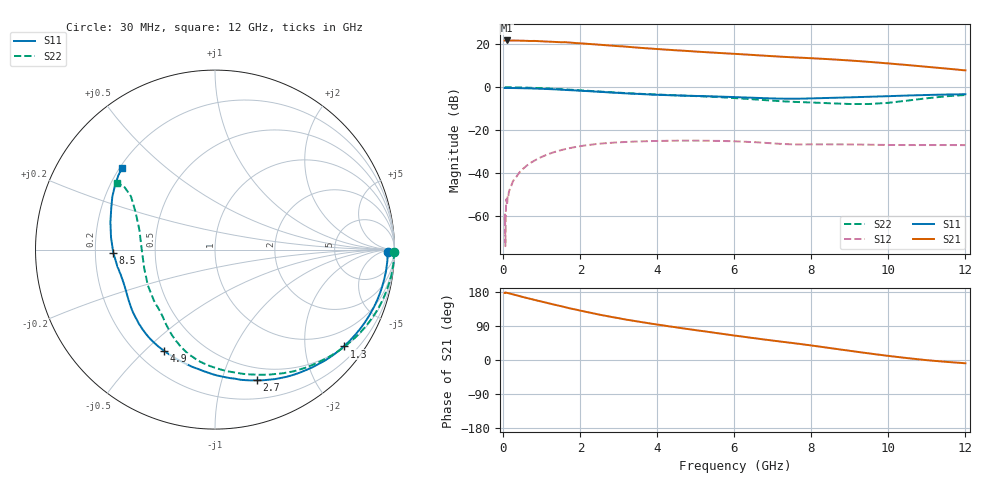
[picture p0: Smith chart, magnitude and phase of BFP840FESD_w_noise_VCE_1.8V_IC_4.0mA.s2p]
! Infineon Technologies  Discrete & RF Semiconductors
! BFP840FESD
! VCE =  1.8 V,  IC =  4.0 mA
! Common Emitter S-Parameters:  May 2012
# GHz  S  MA  R  50
!  f  S11  S21  S12  S22
! GHz  MAG  ANG  MAG  ANG  MAG  ANG  MAG  ANG
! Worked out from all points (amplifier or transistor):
!   103 points, 30 MHz to 12 GHz, reference 50 ohm
!   highest |S21| = 21.8 dB at 90 MHz (marker M1)
!   |S21| within 3 dB of that: start of sweep to 3.264 GHz
!   unconditionally stable (mu >= 1): 7.252 GHz to end of sweep
!   at 400 MHz: K = 0.05, MSG = 30.9 dB, |S12| = -40.0 dB
!   at 3.7 GHz: K = 0.31, MSG = 21.6 dB, |S12| = -25.1 dB
!   at 12 GHz: K = 1.32, MAG = 14.0 dB, |S12| = -26.9 dB
!   lowest NFmin = 0.53 dB at 450 MHz
!   S11 on the Smith chart (normalised r, x): 30 MHz: 45, -19; 1.3 GHz: 0.52, -2.91; 2.7 GHz: 0.37, -1.30; 4.9 GHz: 0.31, -0.57; 8.5 GHz: 0.28, -0.01; 12 GHz: 0.21, +0.36
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0.03  0.9627 -0.9  12.24 177.0  0.0008 89.3  0.9962 -0.7
0.04  0.9627 -1.2  12.24 176.8  0.0011 84.2  0.9968 -0.9
0.05  0.9615 -1.5  12.29 178.2  0.0002 67.4  0.9971 -1.1
0.06  0.962 -1.7  12.26 178.0  0.001 66.9  0.9969 -1.4
0.07  0.9624 -2.0  12.29 177.9  0.0021 85.5  0.9977 -1.6
0.09  0.9618 -2.6  12.31 177.2  0.0018 81.6  0.9981 -2.1
0.11  0.9624 -3.2  12.29 176.8  0.003 94.3  0.9977 -2.7
0.25  0.9602 -7.2  12.25 173.2  0.0066 81.5  0.9955 -6.1
0.8  0.9349 -23.0  12 158.8  0.0195 73.3  0.9675 -19.6
1.3  0.8982 -36.9  11.42 146.6  0.0306 63.0  0.9242 -31.6
1.6  0.8702 -45.3  11.23 139.4  0.0363 56.9  0.8927 -38.8
2.1  0.8228 -58.1  10.41 128.1  0.044 47.5  0.8382 -50.5
2.7  0.7648 -72.2  9.477 115.7  0.0503 37.5  0.7761 -63.0
3.3  0.7138 -85.3  8.66 104.7  0.0539 29.6  0.7231 -74.1
4.1  0.6646 -101.3  7.663 92.0  0.0564 21.1  0.672 -86.5
4.9  0.6317 -116.7  6.893 80.2  0.0572 14.1  0.6298 -97.6
6.1  0.5864 -137.6  5.941 63.2  0.0549 5.4  0.5542 -112.9
7.2  0.5446 -156.7  5.167 48.6  0.0482 2.3  0.4749 -127.7
8.5  0.5669 -178.2  4.493 31.3  0.047 5.9  0.4243 -151.7
9.5  0.6019 165.5  3.907 17.3  0.0461 6.5  0.408 -179.7
10.5  0.6433 152.8  3.292 4.9  0.0452 9.3  0.4909 154.5
12  0.6896 138.6  2.475 -8.6  0.045 15.3  0.6619 146.0
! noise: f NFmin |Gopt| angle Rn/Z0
0.45  0.53  0.56  6  0.19
0.9  0.57  0.54  13  0.19
1.5  0.61  0.49  19  0.19
1.9  0.62  0.45  28  0.19
2.4  0.64  0.43  34  0.19
3.5  0.66  0.41  54  0.18
5.5  0.76  0.29  90  0.13
8  0.95  0.24  149  0.11
10  1.14  0.28  -158  0.1
12  1.34  0.45  -129  0.13
